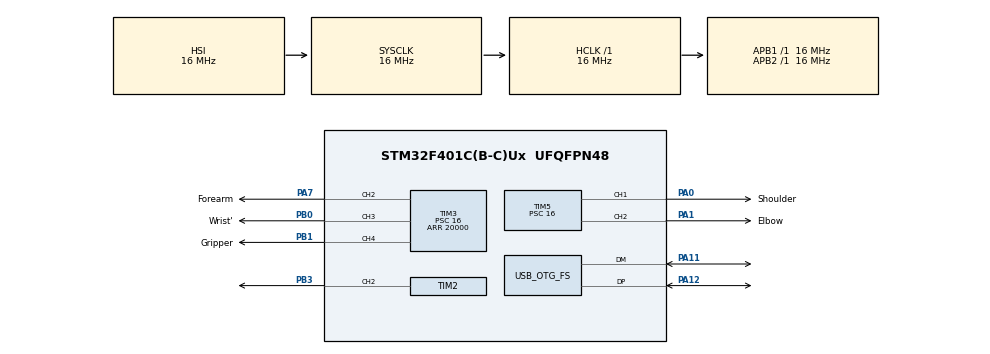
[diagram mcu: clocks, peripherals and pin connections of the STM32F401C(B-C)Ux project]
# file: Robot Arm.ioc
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Mcu.Family=STM32F4
Mcu.Name=STM32F401C(B-C)Ux
Mcu.Package=UFQFPN48
NVIC.OTG_FS_IRQn=true\:0\:0\:false\:false\:true\:false\:true\:true
NVIC.PriorityGroup=NVIC_PRIORITYGROUP_4
PA0-WKUP.GPIO_Label=Shoulder
PA0-WKUP.Signal=S_TIM5_CH1
PA1.GPIO_Label=Elbow
PA1.Signal=S_TIM5_CH2
PA11.Mode=Device_Only
PA11.Signal=USB_OTG_FS_DM
PA12.Mode=Device_Only
PA12.Signal=USB_OTG_FS_DP
PA13.Mode=Serial_Wire
PA13.Signal=SYS_JTMS-SWDIO
PA14.Mode=Serial_Wire
PA14.Signal=SYS_JTCK-SWCLK
PA7.GPIO_Label=Forearm
PA7.Signal=S_TIM3_CH2
PB0.GPIO_Label=Wrist'
PB0.Signal=S_TIM3_CH3
PB1.GPIO_Label=Gripper
PB1.Signal=S_TIM3_CH4
PB3.Signal=S_TIM2_CH2
PH0\ -\ OSC_IN.Mode=HSE-External-Oscillator
PH0\ -\ OSC_IN.Signal=RCC_OSC_IN
PH1\ -\ OSC_OUT.Mode=HSE-External-Oscillator
PH1\ -\ OSC_OUT.Signal=RCC_OSC_OUT
ProjectManager.HeapSize=0x200
ProjectManager.StackSize=0x400
ProjectManager.TargetToolchain=Makefile
RCC.48MHZClocksFreq_Value=48000000
RCC.AHBFreq_Value=16000000
RCC.APB1Freq_Value=16000000
RCC.APB2Freq_Value=16000000
RCC.CortexFreq_Value=16000000
RCC.HSE_VALUE=25000000
RCC.HSI_VALUE=16000000
RCC.LSE_VALUE=32768
RCC.PLLM=15
RCC.PLLN=144
RCC.PLLQ=5
RCC.SYSCLKFreq_VALUE=16000000
RCC.VCOOutputFreq_Value=240000000
SH.S_TIM2_CH2.0=TIM2_CH2,PWM Generation2 CH2
SH.S_TIM3_CH2.0=TIM3_CH2,PWM Generation2 CH2
SH.S_TIM3_CH3.0=TIM3_CH3,PWM Generation3 CH3
SH.S_TIM3_CH4.0=TIM3_CH4,PWM Generation4 CH4
SH.S_TIM5_CH1.0=TIM5_CH1,PWM Generation1 CH1
SH.S_TIM5_CH2.0=TIM5_CH2,PWM Generation2 CH2
TIM2.Channel-PWM\ Generation2\ CH2=TIM_CHANNEL_2
TIM2.Period=20000
TIM2.Prescaler=16
TIM3.Channel-PWM\ Generation2\ CH2=TIM_CHANNEL_2
TIM3.Channel-PWM\ Generation3\ CH3=TIM_CHANNEL_3
TIM3.Channel-PWM\ Generation4\ CH4=TIM_CHANNEL_4
TIM3.ClockDivision=TIM_CLOCKDIVISION_DIV1
TIM3.Period=20000
TIM3.Prescaler=16
TIM5.Channel-PWM\ Generation1\ CH1=TIM_CHANNEL_1
TIM5.Channel-PWM\ Generation2\ CH2=TIM_CHANNEL_2
TIM5.Period=20000
TIM5.Prescaler=16
USB_DEVICE.CLASS_NAME_FS=CDC
USB_DEVICE.VirtualMode=Cdc
USB_DEVICE.VirtualModeFS=Cdc_FS
USB_OTG_FS.VirtualMode=Device_Only
VP_USB_DEVICE_VS_USB_DEVICE_CDC_FS.Mode=CDC_FS
board=custom

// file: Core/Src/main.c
/* USER CODE BEGIN Header */
/**
 ******************************************************************************
 * @file           : main.c
 * @brief          : Main program body
 ******************************************************************************
 * @attention
 *
 * Copyright (c) 2024 STMicroelectronics.
 * All rights reserved.
 *
 * This software is licensed under terms that can be found in the LICENSE file
 * in the root directory of this software component.
 * If no LICENSE file comes with this software, it is provided AS-IS.
 *
 ******************************************************************************
 */
/* USER CODE END Header */
#include "main.h"
#include "usb_device.h"

/* USER CODE BEGIN Includes */
#include "joint.h"
#include "arm.h"
#include <string.h>
#include "usbd_cdc_if.h"
#include <stdbool.h>

/* USER CODE END Includes */

TIM_HandleTypeDef htim2;
TIM_HandleTypeDef htim3;
TIM_HandleTypeDef htim5;

/* USER CODE BEGIN PV */

float USB_RX_Buf[5] = {0, 0, 0, 0, 0};

/* USER CODE END PV */

void SystemClock_Config(void);
static void MX_GPIO_Init(void);
static void MX_TIM3_Init(void);
static void MX_TIM5_Init(void);
static void MX_TIM2_Init(void);
/* USER CODE BEGIN PFP */

float byteArrayToFloat(const uint8_t *byteArray)
{
  // Assuming the byteArray is in little-endian format
  uint32_t value;
  memcpy(&value, byteArray, sizeof(uint32_t));

  // Convert the raw integer value to float
  float result;
  memcpy(&result, &value, sizeof(float));

  return result;
}
void receiveAnglesUSB(uint8_t *buf)
{
  for (int i = 0; i < 5; i++)
  {
    USB_RX_Buf[i] = byteArrayToFloat(buf + sizeof(float) * i);
  }
}

/* USER CODE END PFP */

int main(void)
{

  /* MCU Configuration--------------------------------------------------------*/

  /* Reset of all peripherals, Initializes the Flash interface and the Systick. */
  HAL_Init();

  /* Configure the system clock */
  SystemClock_Config();

  /* Initialize all configured peripherals */
  MX_GPIO_Init();
  MX_TIM3_Init();
  MX_USB_DEVICE_Init();
  MX_TIM5_Init();
  MX_TIM2_Init();
  /* USER CODE BEGIN 2 */
  joint_t elbow = {.htimer = &htim5, .CCRReg = &(TIM5->CCR2), .channel = TIM_CHANNEL_2, .min_angle = 0, .max_angle = 80};
  joint_t hand = {.htimer = &htim3, .CCRReg = &(TIM3->CCR3), .channel = TIM_CHANNEL_3, .min_angle = 0, .max_angle = 180};
  joint_t shoulder = {.htimer = &htim5, .CCRReg = &(TIM5->CCR1), .channel = TIM_CHANNEL_1, .min_angle = 70, .max_angle = 150};
  joint_t base = {.htimer = &htim3, .CCRReg = &(TIM3->CCR4), .channel = TIM_CHANNEL_4, .min_angle = 20, .max_angle = 170};
  joint_t wrist = {.htimer = &htim3, .CCRReg = &(TIM3->CCR2), .channel = TIM_CHANNEL_2, .min_angle = 60, .max_angle = 120};

  arm_t arm =
      {
          .base = &base,
          .shoulder = &shoulder,
          .elbow = &elbow,
          .wrist = &wrist,
          .hand = &hand,
      };
  arm_init(&arm);
  joint_set_angle(arm.base, 0);
  joint_set_angle(arm.shoulder, 0);
  joint_set_angle(arm.elbow, 0);
  joint_set_angle(arm.wrist, 0);
  joint_set_angle(arm.hand, 0);
  // USBD_CDC_init();

  /* USER CODE END 2 */

  /* Infinite loop */
  /* USER CODE BEGIN WHILE */
  bool up = true;
  int angle = 1;
  while (1)
  {
    //joint_set_angle(arm.hand, angle);
    //if(up){
    //  angle++;
    //  if(angle >= 180){
    //    up = false;
    //  }
    //}
    //else{
    //  angle--;
    //  if(angle <= 0){
    //    up = true;
    //  }
    //}
    arm_set_angles(&arm, USB_RX_Buf, 20);
    HAL_Delay(30);
    //arm_set_angles(&arm, USB_RX_Buf, 1);
    /* USER CODE END WHILE */

  }
}

void SystemClock_Config(void)
{
  RCC_OscInitTypeDef RCC_OscInitStruct = {0};
  RCC_ClkInitTypeDef RCC_ClkInitStruct = {0};

  /** Configure the main internal regulator output voltage
  */
  __HAL_RCC_PWR_CLK_ENABLE();
  __HAL_PWR_VOLTAGESCALING_CONFIG(PWR_REGULATOR_VOLTAGE_SCALE2);

  /** Initializes the RCC Oscillators according to the specified parameters
  * in the RCC_OscInitTypeDef structure.
  */
  RCC_OscInitStruct.OscillatorType = RCC_OSCILLATORTYPE_HSI|RCC_OSCILLATORTYPE_HSE;
  RCC_OscInitStruct.HSEState = RCC_HSE_ON;
  RCC_OscInitStruct.HSIState = RCC_HSI_ON;
  RCC_OscInitStruct.HSICalibrationValue = RCC_HSICALIBRATION_DEFAULT;
  RCC_OscInitStruct.PLL.PLLState = RCC_PLL_ON;
  RCC_OscInitStruct.PLL.PLLSource = RCC_PLLSOURCE_HSE;
  RCC_OscInitStruct.PLL.PLLM = 15;
  RCC_OscInitStruct.PLL.PLLN = 144;
  RCC_OscInitStruct.PLL.PLLP = RCC_PLLP_DIV2;
  RCC_OscInitStruct.PLL.PLLQ = 5;
  if (HAL_RCC_OscConfig(&RCC_OscInitStruct) != HAL_OK)
  {
    Error_Handler();
  }

  /** Initializes the CPU, AHB and APB buses clocks
  */
  RCC_ClkInitStruct.ClockType = RCC_CLOCKTYPE_HCLK|RCC_CLOCKTYPE_SYSCLK
                              |RCC_CLOCKTYPE_PCLK1|RCC_CLOCKTYPE_PCLK2;
  RCC_ClkInitStruct.SYSCLKSource = RCC_SYSCLKSOURCE_HSI;
  RCC_ClkInitStruct.AHBCLKDivider = RCC_SYSCLK_DIV1;
  RCC_ClkInitStruct.APB1CLKDivider = RCC_HCLK_DIV1;
  RCC_ClkInitStruct.APB2CLKDivider = RCC_HCLK_DIV1;

  if (HAL_RCC_ClockConfig(&RCC_ClkInitStruct, FLASH_LATENCY_0) != HAL_OK)
  {
    Error_Handler();
  }
}

static void MX_TIM2_Init(void)
{

  TIM_MasterConfigTypeDef sMasterConfig = {0};
  TIM_OC_InitTypeDef sConfigOC = {0};

  htim2.Instance = TIM2;
  htim2.Init.Prescaler = 16;
  htim2.Init.CounterMode = TIM_COUNTERMODE_UP;
  htim2.Init.Period = 20000;
  htim2.Init.ClockDivision = TIM_CLOCKDIVISION_DIV1;
  htim2.Init.AutoReloadPreload = TIM_AUTORELOAD_PRELOAD_DISABLE;
  if (HAL_TIM_PWM_Init(&htim2) != HAL_OK)
  {
    Error_Handler();
  }
  sMasterConfig.MasterOutputTrigger = TIM_TRGO_RESET;
  sMasterConfig.MasterSlaveMode = TIM_MASTERSLAVEMODE_DISABLE;
  if (HAL_TIMEx_MasterConfigSynchronization(&htim2, &sMasterConfig) != HAL_OK)
  {
    Error_Handler();
  }
  sConfigOC.OCMode = TIM_OCMODE_PWM1;
  sConfigOC.Pulse = 0;
  sConfigOC.OCPolarity = TIM_OCPOLARITY_HIGH;
  sConfigOC.OCFastMode = TIM_OCFAST_DISABLE;
  if (HAL_TIM_PWM_ConfigChannel(&htim2, &sConfigOC, TIM_CHANNEL_2) != HAL_OK)
  {
    Error_Handler();
  }
  HAL_TIM_MspPostInit(&htim2);

}

static void MX_TIM3_Init(void)
{

  TIM_MasterConfigTypeDef sMasterConfig = {0};
  TIM_OC_InitTypeDef sConfigOC = {0};

  htim3.Instance = TIM3;
  htim3.Init.Prescaler = 16;
  htim3.Init.CounterMode = TIM_COUNTERMODE_UP;
  htim3.Init.Period = 20000;
  htim3.Init.ClockDivision = TIM_CLOCKDIVISION_DIV1;
  htim3.Init.AutoReloadPreload = TIM_AUTORELOAD_PRELOAD_DISABLE;
  if (HAL_TIM_PWM_Init(&htim3) != HAL_OK)
  {
    Error_Handler();
  }
  sMasterConfig.MasterOutputTrigger = TIM_TRGO_RESET;
  sMasterConfig.MasterSlaveMode = TIM_MASTERSLAVEMODE_DISABLE;
  if (HAL_TIMEx_MasterConfigSynchronization(&htim3, &sMasterConfig) != HAL_OK)
  {
    Error_Handler();
  }
  sConfigOC.OCMode = TIM_OCMODE_PWM1;
  sConfigOC.Pulse = 0;
  sConfigOC.OCPolarity = TIM_OCPOLARITY_HIGH;
  sConfigOC.OCFastMode = TIM_OCFAST_DISABLE;
  if (HAL_TIM_PWM_ConfigChannel(&htim3, &sConfigOC, TIM_CHANNEL_2) != HAL_OK)
  {
    Error_Handler();
  }
  if (HAL_TIM_PWM_ConfigChannel(&htim3, &sConfigOC, TIM_CHANNEL_3) != HAL_OK)
  {
    Error_Handler();
  }
  if (HAL_TIM_PWM_ConfigChannel(&htim3, &sConfigOC, TIM_CHANNEL_4) != HAL_OK)
  {
    Error_Handler();
  }
  HAL_TIM_MspPostInit(&htim3);

}

static void MX_TIM5_Init(void)
{

  TIM_MasterConfigTypeDef sMasterConfig = {0};
  TIM_OC_InitTypeDef sConfigOC = {0};

  htim5.Instance = TIM5;
  htim5.Init.Prescaler = 16;
  htim5.Init.CounterMode = TIM_COUNTERMODE_UP;
  htim5.Init.Period = 20000;
  htim5.Init.ClockDivision = TIM_CLOCKDIVISION_DIV1;
  htim5.Init.AutoReloadPreload = TIM_AUTORELOAD_PRELOAD_DISABLE;
  if (HAL_TIM_PWM_Init(&htim5) != HAL_OK)
  {
    Error_Handler();
  }
  sMasterConfig.MasterOutputTrigger = TIM_TRGO_RESET;
  sMasterConfig.MasterSlaveMode = TIM_MASTERSLAVEMODE_DISABLE;
  if (HAL_TIMEx_MasterConfigSynchronization(&htim5, &sMasterConfig) != HAL_OK)
  {
    Error_Handler();
  }
  sConfigOC.OCMode = TIM_OCMODE_PWM1;
  sConfigOC.Pulse = 0;
  sConfigOC.OCPolarity = TIM_OCPOLARITY_HIGH;
  sConfigOC.OCFastMode = TIM_OCFAST_DISABLE;
  if (HAL_TIM_PWM_ConfigChannel(&htim5, &sConfigOC, TIM_CHANNEL_1) != HAL_OK)
  {
    Error_Handler();
  }
  if (HAL_TIM_PWM_ConfigChannel(&htim5, &sConfigOC, TIM_CHANNEL_2) != HAL_OK)
  {
    Error_Handler();
  }
  HAL_TIM_MspPostInit(&htim5);

}

static void MX_GPIO_Init(void)
{

  /* GPIO Ports Clock Enable */
  __HAL_RCC_GPIOH_CLK_ENABLE();
  __HAL_RCC_GPIOA_CLK_ENABLE();
  __HAL_RCC_GPIOB_CLK_ENABLE();

}

void Error_Handler(void)
{
  __disable_irq();
  while (1)
  {
  }
}
